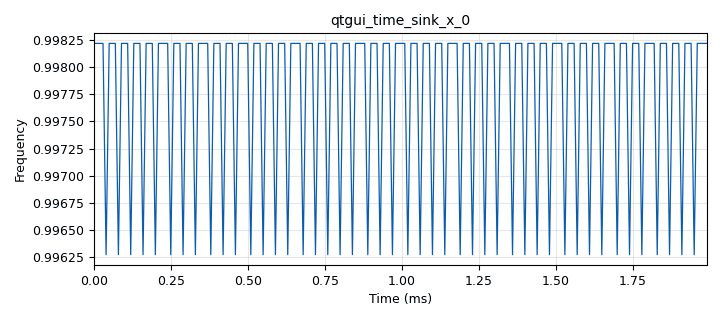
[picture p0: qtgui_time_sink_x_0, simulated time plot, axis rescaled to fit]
options:
  parameters:
    author: Marcus Müller
    copyright: '2021'
    generate_options: qt_gui
    id: pll_freqdet_simple
    output_language: python
    title: Showcasing the PLL Freq Det
  states: {}

blocks:
- name: freq
  id: variable_qtgui_range
  parameters:
    comment: |-
      Frequency Adjustment
      Widget
    label: Frequency / Hz
    orient: QtCore.Qt.Orientation.Horizontal
    start: '-samp_rate/2'
    step: samp_rate/1e3
    stop: samp_rate/2
    value: '1'
  states: {}
- name: samp_rate
  id: variable
  parameters:
    value: 1e5
  states: {}
- name: analog_pll_freqdet_cf_0
  id: analog_pll_freqdet_cf
  parameters:
    max_freq: pi
    min_freq: '-pi'
    w: pi/10
  states: {}
- name: analog_sig_source_x_0
  id: analog_sig_source_x
  parameters:
    amp: '1'
    comment: |-
      Adjustable Frequency
      Signal Source
    freq: freq
    offset: '0'
    phase: '0'
    samp_rate: samp_rate
    type: complex
    waveform: analog.GR_COS_WAVE
  states: {}
- name: blocks_multiply_const_vxx_0
  id: blocks_multiply_const_vxx
  parameters:
    comment: |-
      Output is phase/sample,
      so divide by 2π to get a
      relative frequency
      ∈[-1/2,1/2],
    const: 1/(2*pi)
    type: float
  states: {}
- name: blocks_multiply_const_vxx_1
  id: blocks_multiply_const_vxx
  parameters:
    comment: |-
      multiply by sampling
      rate to get absolute 
      frequency
      ∈[-f_s/2, f_s/2]
    const: samp_rate
    type: float
  states: {}
- name: blocks_throttle2_0
  id: blocks_throttle2
  parameters:
    comment: |-
      Only slows down
      processing of 
      samples (for easier
      visualization)
    limit: items
    maximum: '100'
    samples_per_second: samp_rate
    type: float
  states: {}
- name: import_0
  id: import
  parameters:
    alias: from math import pi
    comment: |-
      Gives us the
      π constant as "pi"
    imports: from math import pi
  states: {}
- name: qtgui_number_sink_0
  id: qtgui_number_sink
  parameters:
    graph_type: qtgui.NUM_GRAPH_HORIZ
    label1: '"Phase advancement per sample"'
    max: pi
    min: '-pi'
    type: float
    unit1: rad
  states: {}
- name: qtgui_time_sink_x_0
  id: qtgui_time_sink_x
  parameters:
    label1: Frequency
    legend: 'False'
    size: '200'
    srate: samp_rate
    type: float
    ylabel: Frequency
    ymax: 0.55*samp_rate
    ymin: '-0.55*samp_rate'
    yunit: '"Hz"'
  states: {}

connections:
- [analog_pll_freqdet_cf_0, '0', blocks_multiply_const_vxx_0, '0']
- [analog_pll_freqdet_cf_0, '0', blocks_throttle2_0, '0']
- [analog_pll_freqdet_cf_0, '0', qtgui_number_sink_0, '0']
- [analog_sig_source_x_0, '0', analog_pll_freqdet_cf_0, '0']
- [blocks_multiply_const_vxx_0, '0', blocks_multiply_const_vxx_1, '0']
- [blocks_multiply_const_vxx_1, '0', qtgui_time_sink_x_0, '0']

metadata:
  file_format: 1
  grc_version: v3.11.0.0git-554-g12f02467
